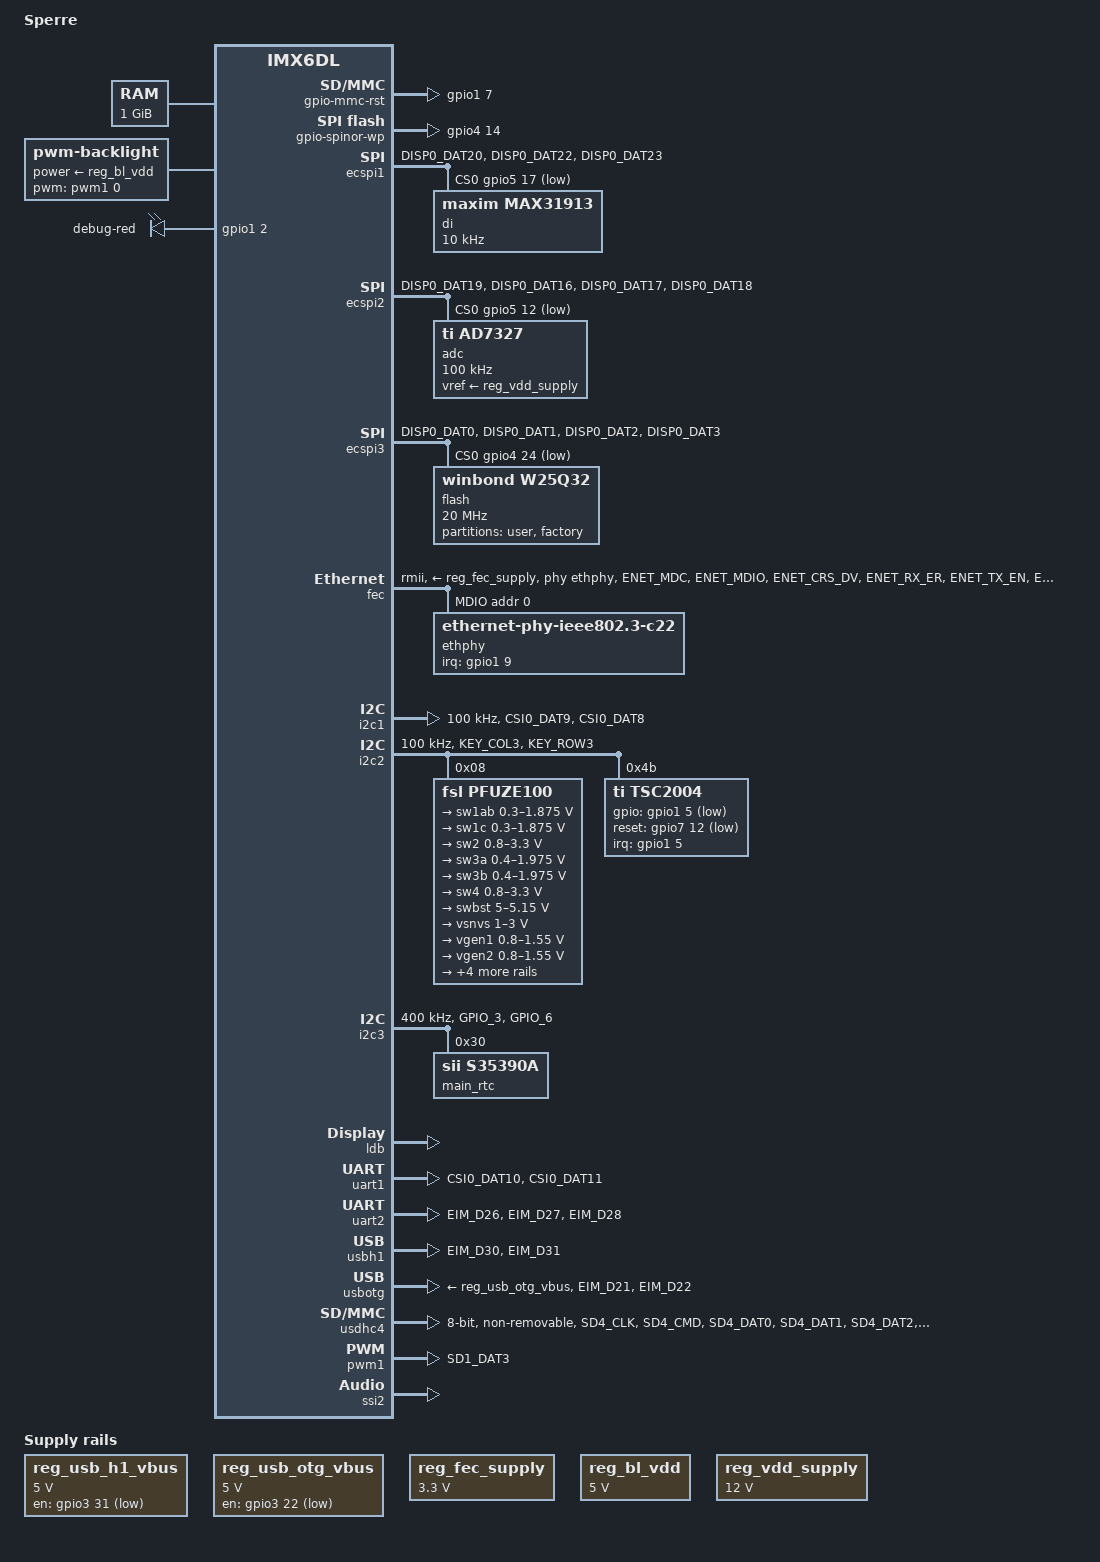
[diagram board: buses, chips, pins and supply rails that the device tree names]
/*
 * Copyright DATA RESPONS AS
 *
 * The code contained herein is licensed under the GNU General Public
 * License. You may obtain a copy of the GNU General Public License
 * Version 2 or later at the following locations:
 *
 * http://www.opensource.org/licenses/gpl-license.html
 * http://www.gnu.org/copyleft/gpl.html
 */
 
/dts-v1/;

#include "imx6dl.dtsi"
#include <dt-bindings/input/input.h>
#include <dt-bindings/gpio/gpio.h>
/ {
    model = "Sperre";
    compatible = "datarespons,sperre";
    
    aliases {
    	mxcfb0 = &mxcfb1;
		mxcfb1 = &mxcfb2;
        mmc0 = &usdhc4;
        rtc0 = &main_rtc;
    };
    
    memory {
        reg = <0x10000000 0x40000000>;
    };
    
    regulators {
        compatible = "simple-bus";

        reg_usb_h1_vbus: usb_h1_vbus {
            compatible = "regulator-fixed";
            regulator-name = "usb_h1_vbus";
            regulator-min-microvolt = <5000000>;
            regulator-max-microvolt = <5000000>;
            gpio = <&gpio3 31 GPIO_ACTIVE_LOW>;
            enable-active-low;
        };
    
        reg_usb_otg_vbus: usb_otg_vbus {
            compatible = "regulator-fixed";
            regulator-name = "usb_otg_vbus";
            regulator-min-microvolt = <5000000>;
            regulator-max-microvolt = <5000000>;
            gpio = <&gpio3 22 GPIO_ACTIVE_LOW>;
            enable-active-low;
            //vin-supply = <&reg_5v>;	// to be done and checked
        };
        
        reg_fec_supply: fec_supply {
            compatible = "regulator-fixed";
            regulator-name = "fec_vbus";
            regulator-min-microvolt = <3300000>;
            regulator-max-microvolt = <3300000>;
            regulator-boot-on;
			regulator-always-on;
        };
        
        reg_bl_vdd: bl_vdd {
            compatible = "regulator-fixed";
            regulator-name = "bl_vdd";
            regulator-min-microvolt = <5000000>;
            regulator-max-microvolt = <5000000>;
            regulator-boot-on;
			regulator-always-on;
        };
        
        reg_vdd_supply: vdd_supply {
        	compatible = "regulator-fixed";
            regulator-name = "adc_vdd";
            regulator-min-microvolt = <12000000>;
            regulator-max-microvolt = <12000000>;
            regulator-boot-on;
			regulator-always-on;
        };
    };
    
    gpio-keys {
        compatible = "gpio-keys";
        
    };
    
    backlight  {
        compatible = "pwm-backlight";
        pwms = <&pwm1 0 5000000>;
        brightness-levels = < 0 1 2 3 4 5 6 8  11 16  23  32 48
                              64 81 100 121 144 169 196 225>;
        default-brightness-level = <20>;
        power-supply = <&reg_bl_vdd>;
        //enable-gpios = <&gpio4 15 GPIO_ACTIVE_LOW>;
        default-on;
    };
    
    /* LVDS screen */
    mxcfb1: fb@0 {
    		compatible = "fsl,mxc_sdc_fb";
	        disp_dev = "ldb";
	        interface_pix_fmt = "RGB666";
	        default_bpp = <16>;
	        mode_str ="SPERRE-WVGA";
	        int_clk = <0>;
	        late_init = <0>;
	        status = "okay";
    };
    
    /* HDMI will not be used */
	mxcfb2: fb@1 {
	        compatible = "fsl,mxc_sdc_fb";
        	disp_dev = "hdmi";
			interface_pix_fmt = "RGB24";
			mode_str = "1920x1080M@60";
			default_bpp = <0x18>;
			int_clk = <0x0>;
			late_init = <0x0>;
			status = "disabled";
    };
    
	user-gpios {
        gpio-lcd-pwr-enable {
            gpios = <&gpio1 0 GPIO_ACTIVE_LOW>;
            status = "okay";
            value = <1>;
        };
        
        gpio-lcd-bl-enable {
            gpios = <&gpio4 15 GPIO_ACTIVE_LOW>;
            status = "okay";
            value = <1>;
        };
        
        gpio-mmc-rst {
            gpios = <&gpio1 7 GPIO_ACTIVE_LOW>;
            status = "okay";
            value = <0>;
        };
        gpio-touch-rst {
            gpios = <&gpio7 12 GPIO_ACTIVE_LOW>;
            status = "okay";
            value = <1>;
        };
        
        gpio-pmic-gpio {
            gpios = <&gpio7 13 GPIO_ACTIVE_HIGH>;
            status = "okay";
            value = <1>;
        };
        
        gpio-rs485-rts {
        	gpios = <&gpio3 29 GPIO_ACTIVE_LOW>;
        	status = "okay";
        	value = <1>;
        };
        
        gpio-rs485-en1 {
            gpios = <&gpio4 6 GPIO_ACTIVE_LOW>;
            status = "okay";
            value = <0>;
        };
        
        gpio-rs485-en2 {
            gpios = <&gpio4 7 GPIO_ACTIVE_HIGH>;
            status = "okay";
            value = <1>;
        };
        
        gpio-spinor-wp {
            gpios = <&gpio4 14 GPIO_ACTIVE_LOW>;
            status = "okay";
            value = <1>;
        };

		/* RELAYS GPIOS */
        gpio-relay-1 {
        	gpios = <&gpio2 0 GPIO_ACTIVE_HIGH>;
            status = "okay";
            value = <0>;
        };
        
        gpio-relay-2 {
        	gpios = <&gpio2 1 GPIO_ACTIVE_HIGH>;
            status = "okay";
            value = <0>;
        };
        
        gpio-relay-3 {
        	gpios = <&gpio2 2 GPIO_ACTIVE_HIGH>;
            status = "okay";
            value = <0>;
        };
        
        gpio-relay-4 {
        	gpios = <&gpio2 3 GPIO_ACTIVE_HIGH>;
            status = "okay";
            value = <0>;
        };
        
        gpio-relay-5 {
        	gpios = <&gpio2 4 GPIO_ACTIVE_HIGH>;
            status = "okay";
            value = <0>;
        };
        
        gpio-relay-6 {
        	gpios = <&gpio2 5 GPIO_ACTIVE_HIGH>;
            status = "okay";
            value = <0>;
        };
        
        gpio-relay-7 {
        	gpios = <&gpio2 6 GPIO_ACTIVE_HIGH>;
            status = "okay";
            value = <0>;
        };
        
        gpio-relay-8 {
        	gpios = <&gpio2 7 GPIO_ACTIVE_HIGH>;
            status = "okay";
            value = <0>;
        };
    };
    
    leds {
        compatible = "gpio-leds";
    
        debug-red {
        	gpios = <&gpio1 2 GPIO_ACTIVE_HIGH>;
            default-state = "off";
        };
    };
};

/* Digital Input */
&ecspi1 {
    fsl,spi-num-chipselects = <1>;
    cs-gpios = <&gpio5 17 GPIO_ACTIVE_LOW>;
    pinctrl-names = "default";
    pinctrl-0 = <&pinctrl_ecspi1>;
    status = "okay";
    
    di: max31913@0 {
       compatible = "maxim,max31913";
       reg = <0>;
       spi-max-frequency = <10000>;
    };
};

/* Analog Input */
&ecspi2 {
    fsl,spi-num-chipselects = <1>;
    cs-gpios = <&gpio5 12 GPIO_ACTIVE_LOW>;
    pinctrl-names = "default";
    pinctrl-0 = <&pinctrl_ecspi2>;
    status = "okay";
    
    adc: ad7327@0 {
       compatible = "ti,ad7327";
       reg = <0>;
       vref-supply = <&reg_vdd_supply>;
       spi-max-frequency = <100000>;
    };
};

/* NOR FLASH SPI3 */
&ecspi3 {
    fsl,spi-num-chipselects = <1>;
    cs-gpios = <&gpio4 24 GPIO_ACTIVE_LOW>;
    pinctrl-names = "default";
    pinctrl-0 = <&pinctrl_ecspi3>;
    status = "okay";

    flash: w25q32@0 {
        #address-cells = <1>;
        #size-cells = <1>;
        compatible = "winbond,w25q32", "jedec,spi-nor";
        spi-max-frequency = <20000000>;
        reg = <0>;
        partition@0 {
            label = "user";
            reg = <0 0x00200000>;
        };
        partition@0x00200000 {
            label = "factory";
            reg = <0x00200000 0x00200000>;
        };
    };
};

&fec {
    compatible = "fsl,imx6q-fec";
	status = "okay";
	pinctrl-names = "default";
	pinctrl-0 = <&pinctrl_enet>;
	phy-mode = "rmii";
	fsl,magic-packet;
	phy-reset-gpios = <&gpio6 14 GPIO_ACTIVE_HIGH>;
	phy-supply = <&reg_fec_supply>;
	phy-handle = <&ethphy>;
    mdio {
       #address-cells = <1>;
       #size-cells = <0>;
       ethphy: ethernet-phy@0 {
           compatible = "ethernet-phy-ieee802.3-c22";
           reg = <0x0>;
           //max-speed = <100>;
           interrupt-parent = <&gpio1>;
           interrupts = <9 IRQ_TYPE_EDGE_FALLING>;
       };
    };
};


&cpu0 {
    arm-supply = <&reg_arm>;
    soc-supply = <&reg_soc>;
};

&gpc {
    fsl,ldo-bypass = <0>; /* use ldo-bypass, u-boot will check it and configure */
};


/* There is no watchdog? */
/*&wdog1 {
    status = "disabled";
};*/

&i2c1 {
    clock-frequency = <100000>;
    pinctrl-names = "default";
    pinctrl-0 = <&pinctrl_i2c1>;
    status = "okay";
};

&i2c2 {
    clock-frequency = <100000>;
    pinctrl-names = "default";
    pinctrl-0 = <&pinctrl_i2c2>;
    status = "okay";
    
    pfuze100@08 {
		compatible = "fsl,pfuze100";
		reg = <0x8>;

		regulators {

			sw1ab {
				regulator-min-microvolt = <0x493e0>;
				regulator-max-microvolt = <0x1c9c38>;
				regulator-boot-on;
				regulator-always-on;
				regulator-ramp-delay = <0x186a>;
				linux,phandle = <0x2a>;
				phandle = <0x2a>;
			};

			sw1c {
				regulator-min-microvolt = <0x493e0>;
				regulator-max-microvolt = <0x1c9c38>;
				regulator-boot-on;
				regulator-always-on;
				regulator-ramp-delay = <0x186a>;
				linux,phandle = <0x2b>;
				phandle = <0x2b>;
			};

			sw2 {
				regulator-min-microvolt = <0xc3500>;
				regulator-max-microvolt = <0x325aa0>;
				regulator-boot-on;
				regulator-always-on;
			};

			sw3a {
				regulator-min-microvolt = <0x61a80>;
				regulator-max-microvolt = <0x1e22d8>;
				regulator-boot-on;
				regulator-always-on;
			};

			sw3b {
				regulator-min-microvolt = <0x61a80>;
				regulator-max-microvolt = <0x1e22d8>;
				regulator-boot-on;
				regulator-always-on;
			};

			sw4 {
				regulator-min-microvolt = <0xc3500>;
				regulator-max-microvolt = <0x325aa0>;
			};

			swbst {
				regulator-min-microvolt = <0x4c4b40>;
				regulator-max-microvolt = <0x4e9530>;
			};

			vsnvs {
				regulator-min-microvolt = <0xf4240>;
				regulator-max-microvolt = <0x2dc6c0>;
				regulator-boot-on;
				regulator-always-on;
			};

			vrefddr {
				regulator-boot-on;
				regulator-always-on;
			};

			vgen1 {
				regulator-min-microvolt = <0xc3500>;
				regulator-max-microvolt = <0x17a6b0>;
			};

			vgen2 {
				regulator-min-microvolt = <0xc3500>;
				regulator-max-microvolt = <0x17a6b0>;
			};

			vgen3 {
				regulator-min-microvolt = <0x1b7740>;
				regulator-max-microvolt = <0x325aa0>;
			};

			vgen4 {
				regulator-min-microvolt = <0x1b7740>;
				regulator-max-microvolt = <0x325aa0>;
				regulator-always-on;
			};

			vgen5 {
				regulator-min-microvolt = <0x1b7740>;
				regulator-max-microvolt = <0x325aa0>;
				regulator-always-on;
			};

			vgen6 {
				regulator-min-microvolt = <0x1b7740>;
				regulator-max-microvolt = <0x325aa0>;
				regulator-always-on;
			};
		};
	};

	tsc2004@4b {
		compatible = "ti,tsc2004";
		reg = <0x4b>;
		gpios = <&gpio1 5 GPIO_ACTIVE_LOW>;		/* Touch INT */
		reset-gpios = <&gpio7 12 GPIO_ACTIVE_LOW>;
		interrupt-parent = <&gpio1>;
		interrupts = <5 IRQ_TYPE_EDGE_FALLING>;
		ti,x-plate-ohms = <280>;
        status = "okay";
	};
};

&i2c3 {
    clock-frequency = <400000>;
    pinctrl-names = "default";
    pinctrl-0 = <&pinctrl_i2c3>;
    status = "okay";
    
    main_rtc: s35390a@0x30 {
		compatible = "sii,s35390a";
		reg = <0x30>;
	};
};

&iomuxc {
    pinctrl-names = "default";
    pinctrl-0 = <&pinctrl_hog_1>;

    hog {
    	/* TO BE FINISHED, hoggrp-1 needs correct pinctrl setup */
        pinctrl_hog_1: hoggrp-1 {
            fsl,pins = <
            MX6QDL_PAD_GPIO_17__GPIO7_IO12		0x80000000		/* TOUCH_RES */
            MX6QDL_PAD_GPIO_5__GPIO1_IO05		0x0001b8b1		/* TOUCH_IRQ */
            MX6QDL_PAD_GPIO_18__GPIO7_IO13		0x80000000		/* PMIC_INT_B */
            MX6QDL_PAD_GPIO_7__GPIO1_IO07		0x80000000		/* MMC_RST */
            >;
        };
    };

    ecspi1 {
        pinctrl_ecspi1: ecspi1grp {
            fsl,pins = <
            	/* Digital Input */
                MX6QDL_PAD_DISP0_DAT20__ECSPI1_SCLK 	0x100b1
                //MX6QDL_PAD_DISP0_DAT21__ECSPI1_MOSI 	0x100b1		/* this PAD is not used at all */
                MX6QDL_PAD_DISP0_DAT22__ECSPI1_MISO 	0x100b1
                MX6QDL_PAD_DISP0_DAT23__GPIO5_IO17  	0x100b1		/* SPI1_CS0 */
            >;
        };
    };
    
    ecspi2 {
        pinctrl_ecspi2: ecspi2grp {
            fsl,pins = <
                MX6QDL_PAD_DISP0_DAT19__ECSPI2_SCLK 	0x100b1
                MX6QDL_PAD_DISP0_DAT16__ECSPI2_MOSI 	0x100b1
                MX6QDL_PAD_DISP0_DAT17__ECSPI2_MISO 	0x100b1
                MX6QDL_PAD_DISP0_DAT18__GPIO5_IO12  	0x100b1		/* SPI2_CS0 */
            >;
        };
    };
    
    ecspi3 {
        pinctrl_ecspi3: ecspi3grp {
            fsl,pins = <
                MX6QDL_PAD_DISP0_DAT0__ECSPI3_SCLK		0x100b1
                MX6QDL_PAD_DISP0_DAT1__ECSPI3_MOSI		0x100b1
                MX6QDL_PAD_DISP0_DAT2__ECSPI3_MISO		0x100b1
                MX6QDL_PAD_DISP0_DAT3__GPIO4_IO24		0x100b1
            >;
        };
    };
    
    uart1 {
        pinctrl_uart1: uart1grp {
            fsl,pins = <
                MX6QDL_PAD_CSI0_DAT10__UART1_TX_DATA    0x1b0b1
                MX6QDL_PAD_CSI0_DAT11__UART1_RX_DATA    0x1b0b1
            >;
        };
    };
    
    uart2 {
        pinctrl_uart2: uart2grp {
            fsl,pins = <
                MX6QDL_PAD_EIM_D26__UART2_TX_DATA    0x1b0b1
                MX6QDL_PAD_EIM_D27__UART2_RX_DATA    0x1b0b1
                MX6QDL_PAD_EIM_D28__UART2_CTS_B		 0x1b0b1
            >;
        };
    };
    
    pwm1 {
        pinctrl_pwm1: pwm1grp {
            fsl,pins = <
                MX6QDL_PAD_SD1_DAT3__PWM1_OUT       0x1b0b1
            >;
        };
    };
    
    i2c1 {
        pinctrl_i2c1: i2c1grp {
            fsl,pins = <
                MX6QDL_PAD_CSI0_DAT9__I2C1_SCL		0x4001b8b1
                MX6QDL_PAD_CSI0_DAT8__I2C1_SDA		0x4001b8b1
            >;
        };
    };
    
    i2c2 {
        pinctrl_i2c2: i2c2grp {
            fsl,pins = <
                MX6QDL_PAD_KEY_COL3__I2C2_SCL		0x4001b8b1
                MX6QDL_PAD_KEY_ROW3__I2C2_SDA		0x4001b8b1
            >;
        };
    };
    
    i2c3 {
        pinctrl_i2c3: i2c3grp {
            fsl,pins = <
                MX6QDL_PAD_GPIO_3__I2C3_SCL		0x4001b8b1
                MX6QDL_PAD_GPIO_6__I2C3_SDA		0x4001b8b1
            >;
        };
    };
    
    usbh1 {
        pinctrl_usbh1: usbh1grp {
            fsl,pins = <
                MX6QDL_PAD_EIM_D30__USB_H1_OC		0x17059
                MX6QDL_PAD_EIM_D31__USB_H1_PWR      0x80000000
            >;
        };
    };
    
    usbotg {
        pinctrl_usbotg: usbotggrp {
            fsl,pins = <
                //MX6QDL_PAD_ENET_RX_ER__USB_OTG_ID   0x17059
                MX6QDL_PAD_EIM_D21__USB_OTG_OC      0x17059
                MX6QDL_PAD_EIM_D22__GPIO3_IO22      0x80000000
                 
            >;
        };
    };

    usdhc4 {
        pinctrl_usdhc4: usdhc4grp {
            fsl,pins = <
                MX6QDL_PAD_SD4_CLK__SD4_CLK			0x17059
                MX6QDL_PAD_SD4_CMD__SD4_CMD			0x10059
                MX6QDL_PAD_SD4_DAT0__SD4_DATA0      0x17059
                MX6QDL_PAD_SD4_DAT1__SD4_DATA1      0x17059
                MX6QDL_PAD_SD4_DAT2__SD4_DATA2      0x17059
                MX6QDL_PAD_SD4_DAT3__SD4_DATA3      0x17059
                MX6QDL_PAD_SD4_DAT4__SD4_DATA4      0x17059
                MX6QDL_PAD_SD4_DAT5__SD4_DATA5      0x17059
                MX6QDL_PAD_SD4_DAT6__SD4_DATA6      0x17059
                MX6QDL_PAD_SD4_DAT7__SD4_DATA7      0x17059
            >;
        };
    };
    
    enet {        
        pinctrl_enet: enetgrp {
            fsl,pins = <
            	MX6QDL_PAD_ENET_MDC__ENET_MDC			0x1b0b0
            	MX6QDL_PAD_ENET_MDIO__ENET_MDIO			0x1b0b0
            	MX6QDL_PAD_ENET_CRS_DV__ENET_RX_EN		0x1b0b0
            	MX6QDL_PAD_ENET_RX_ER__ENET_RX_ER		0x1b0b0
            	MX6QDL_PAD_ENET_TX_EN__ENET_TX_EN		0x1b0b0
            	MX6QDL_PAD_ENET_RXD0__ENET_RX_DATA0		0x1b0b0
            	MX6QDL_PAD_ENET_RXD1__ENET_RX_DATA1		0x1b0b0
            	MX6QDL_PAD_ENET_TXD0__ENET_TX_DATA0		0x1b0b0
            	MX6QDL_PAD_ENET_TXD1__ENET_TX_DATA1		0x1b0b0
				MX6QDL_PAD_GPIO_16__ENET_REF_CLK		0x4001b0a8
				
				/* LAN8720 PHY Reset */
				MX6QDL_PAD_NANDF_CS1__GPIO6_IO14		0x1b0b0		/* RMII_nRST  */
				MX6QDL_PAD_GPIO_9__GPIO1_IO09			0x1b0b0		/* RMII_INT */
            >;
        };
    };
};

&ldb {
    status = "okay";

	mode = "sin1";

	/* lvds-channel 0 will not be used */
    lvds-channel@0 {
    	reg = <0>;
    	status = "disabled";
        fsl,data-mapping = "spwg";
        fsl,data-width = <18>;
        crtc = "ipu1-di0";

        display-timings {
            native-mode = <&timing0>;
            timing0: hsd100pxn1 {
                clock-frequency = <65000000>;
                hactive = <800>;
                vactive = <480>;
                hback-porch = <220>;
                hfront-porch = <40>;
                vback-porch = <21>;
                vfront-porch = <7>;
                hsync-len = <60>;
                vsync-len = <10>;
            };
        };
    };

    lvds-channel@1 {
    	reg = <1>;
    	status = "okay";
        fsl,data-mapping = "spwg";
        fsl,data-width = <18>;
        status = "okay";
        primary;
        crtc = "ipu1-di1";

        display-timings {
            native-mode = <&timing1>;
            timing1: hsd100pxn1 {
                clock-frequency = <65000000>;
                hactive = <800>;
                vactive = <480>;
                hback-porch = <80>;
                hfront-porch = <40>;
                vback-porch = <10>;
                vfront-porch = <10>;
                hsync-len = <20>;
                vsync-len = <10>;
            };
        };
    };
};

&pcie {
    status = "disabled";
};

&uart1 {
    pinctrl-names = "default";
    pinctrl-0 = <&pinctrl_uart1>;
    status = "okay";
};

&uart2 {
	compatible = "fsl,imx6q-uart", "fsl,imx21-uart";
    pinctrl-names = "default";
    pinctrl-0 = <&pinctrl_uart2>;
    // RTS GPIO - MX6QDL_PAD_EIM_D29__GPIO3_IO29
    rts-gpio = <&gpio3 29 GPIO_ACTIVE_LOW>;
    fsl,uart-has-rtscts;
    status = "okay";
};

&usbh1 {
	pinctrl-names = "default";
    pinctrl-0 = <&pinctrl_usbh1>;
    //vbus-supply = <&reg_usb_h1_vbus>;
    status = "okay";
};

&usbotg {
    pinctrl-names = "default";
    pinctrl-0 = <&pinctrl_usbotg>;
    vbus-supply = <&reg_usb_otg_vbus>;
    disable-over-current;
    srp-disable;
    hnp-disable;
    adp-disable;
    status = "okay";
};

&usdhc1 {
    status = "disabled";
};

&usdhc2 {
    status = "disabled";
};

&usdhc3 {
    status = "disabled";
};

&usdhc4 {
    pinctrl-names = "default";
    pinctrl-0 = <&pinctrl_usdhc4>;
    bus-width = <8>;
    non-removable;
    keep-power-in-suspend;
    enable-sdio-wakeup;
    status = "okay";
};

&pwm1 {
    pinctrl-names = "default";
    pinctrl-0 = <&pinctrl_pwm1>;
    status = "okay";
};

&epdc {
    status = "disabled";
};

&audmux {
    status = "disabled";
};

&clks {
    assigned-clocks = <&clks IMX6QDL_CLK_PLL4_AUDIO_DIV>,
              <&clks IMX6QDL_PLL4_BYPASS>,
              <&clks IMX6QDL_CLK_ESAI_SEL>,
              <&clks IMX6QDL_CLK_ESAI_EXTAL>;
    assigned-clock-parents = <&clks IMX6QDL_CLK_PLL4_POST_DIV>,
                <&clks IMX6QDL_CLK_PLL4>, <&clks IMX6QDL_CLK_PLL4_AUDIO_DIV>;
    assigned-clock-rates = <786432000>, <0>, <0>, <24576000>;
};

&ssi2 {
    fsl,mode = "i2s-slave";
    status = "okay";
};

&esai {
    status = "disabled";
};
